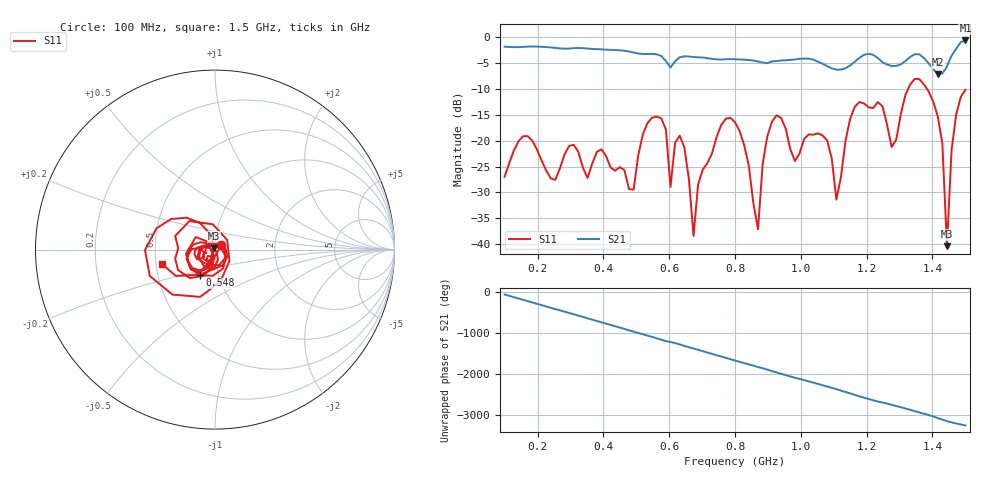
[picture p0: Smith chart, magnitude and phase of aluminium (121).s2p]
! NanoVNA-App
! Date: 2025-09-26 09:59:00
! Start: 100MHz Stop: 1,5GHz Points: 101
! S-Parameter data: F S11 S21 S12 S22
# Hz S RI R 50
!  Frequency  S11_Real  S11_Imag  S21_Real  S21_Imag  S12_Real  S12_Imag  S22_Real  S22_Imag
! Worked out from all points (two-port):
!   101 points, 100 MHz to 1.5 GHz, reference 50 ohm
!   highest |S21| = -0.73 dB at 1.5 GHz (marker M1); lowest = -7.2 dB at 1.416 GHz (marker M2)
!   |S21| within 3 dB of the highest: start of sweep to 576.2 MHz; 1.458 GHz to end of sweep (the widest 2 of 4)
!   lowest |S11| = -40.3 dB at 1.444 GHz (marker M3), VSWR 1.02, Z = 49.5 + j0.786 ohm
!   |S11| at or under -10 dB: start of sweep to 1.326 GHz; 1.383 GHz to end of sweep
!   S12 and S22 are empty: the file has one direction only
!   S11 on the Smith chart (normalised r, x): 100 MHz: 1.07, +0.06; 548 MHz: 0.81, -0.24; 1.5 GHz: 0.54, -0.09
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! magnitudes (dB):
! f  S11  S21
! 100 MHz  -27.0  -1.9
! 156 MHz  -19.2  -2.0
! 338 MHz  -25.2  -2.2
! 492 MHz  -29.4  -3.1
! 548 MHz  -15.6  -3.3
! 576 MHz  -15.7  -3.7
! 604 MHz  -29.0  -5.9
! 646 MHz  -21.3  -3.8
! 674 MHz  -38.3  -3.9
! 702 MHz  -25.6  -4.0
! 800 MHz  -16.5  -4.3
! 870 MHz  -37.1  -4.8
! 912 MHz  -16.4  -4.8
! 1.038 GHz  -18.9  -4.4
! 1.108 GHz  -31.4  -6.3
! 1.178 GHz  -12.6  -4.1
! 1.276 GHz  -21.2  -5.6
! 1.346 GHz  -8.1  -3.4
! 1.416 GHz  -15.3  -7.2
! 1.444 GHz  -40.3  -5.7
! 1.458 GHz  -21.9  -3.7
! 1.5 GHz  -10.2  -0.7
